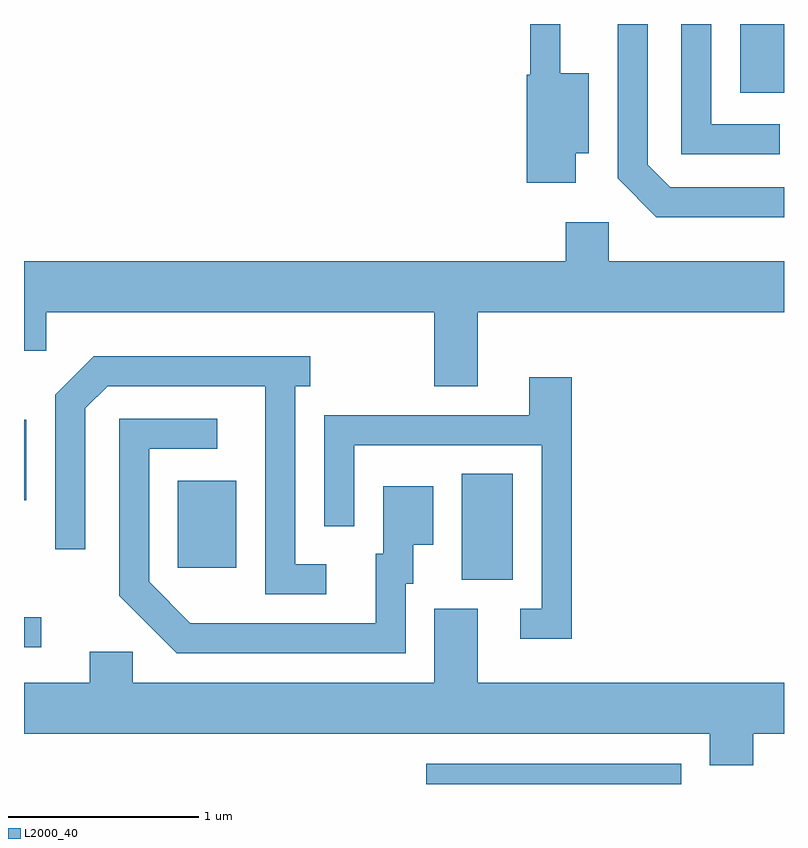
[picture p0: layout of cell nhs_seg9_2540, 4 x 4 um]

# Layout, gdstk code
import gdstk
lib = gdstk.Library(unit=1e-6, precision=1e-09)
def R(c, l, rs):  # rectangles x0, y0, x1, y1
    for r in rs: c.add(gdstk.rectangle(r[:2], r[2:], *l))
def P(c, l, *ps):  # polygons
    for p in ps: c.add(gdstk.Polygon(p, *l))
L2000_40 = (2000, 40)

nhs_seg9_2540 = lib.new_cell('nhs_seg9_2540')
R(nhs_seg9_2540, L2000_40, [(261.728,2000.432,263.069,2000.539), (259.611,2001.151,259.703,2001.309), (261.916,2001.506,262.184,2002.064), (260.421,2001.571,260.729,2002.029), (259.611,2001.926,259.624,2002.349), (263.381,2004.071,263.611,2004.432)])
P(nhs_seg9_2540, L2000_40, [(262.514,2003.751),(262.584,2003.751),(262.584,2004.174),(262.434,2004.174),(262.434,2004.432),(262.276,2004.432),(262.276,2004.164),(262.256,2004.164),(262.256,2003.596),(262.514,2003.596)],
  [(263.588,2003.904),(263.229,2003.904),(263.229,2004.432),(263.071,2004.432),(263.071,2003.746),(263.588,2003.746)],
  [(263.611,2003.574),(263.012,2003.574),(262.894,2003.692),(262.894,2004.432),(262.736,2004.432),(262.736,2003.619),(262.939,2003.416),(263.611,2003.416)],
  [(261.999,2002.916),(263.611,2002.916),(263.611,2003.184),(262.689,2003.184),(262.689,2003.389),(262.461,2003.389),(262.461,2003.184),(259.611,2003.184),(259.611,2002.711),(259.729,2002.711),(259.729,2002.916),(261.771,2002.916),(261.771,2002.526),(261.999,2002.526)],
  [(261.203,2001.589),(261.039,2001.589),(261.039,2002.526),(261.118,2002.526),(261.118,2002.684),(259.979,2002.684),(259.776,2002.482),(259.776,2001.668),(259.934,2001.668),(259.934,2002.409),(260.052,2002.526),(260.881,2002.526),(260.881,2001.431),(261.203,2001.431)],
  [(262.494,2002.574),(262.271,2002.574),(262.271,2002.374),(261.191,2002.374),(261.191,2001.788),(261.349,2001.788),(261.349,2002.216),(262.336,2002.216),(262.336,2001.354),(262.223,2001.354),(262.223,2001.196),(262.494,2001.196)],
  [(261.619,2001.486),(261.659,2001.486),(261.659,2001.691),(261.764,2001.691),(261.764,2001.999),(261.501,2001.999),(261.501,2001.644),(261.461,2001.644),(261.461,2001.279),(260.486,2001.279),(260.269,2001.497),(260.269,2002.196),(260.628,2002.196),(260.628,2002.354),(260.111,2002.354),(260.111,2001.424),(260.414,2001.121),(261.619,2001.121)],
  [(263.449,2000.696),(263.611,2000.696),(263.611,2000.964),(261.999,2000.964),(261.999,2001.354),(261.771,2001.354),(261.771,2000.964),(260.184,2000.964),(260.184,2001.129),(259.956,2001.129),(259.956,2000.964),(259.611,2000.964),(259.611,2000.696),(263.221,2000.696),(263.221,2000.531),(263.449,2000.531)])

lib.write_gds('nhs_seg9_2540.gds')
